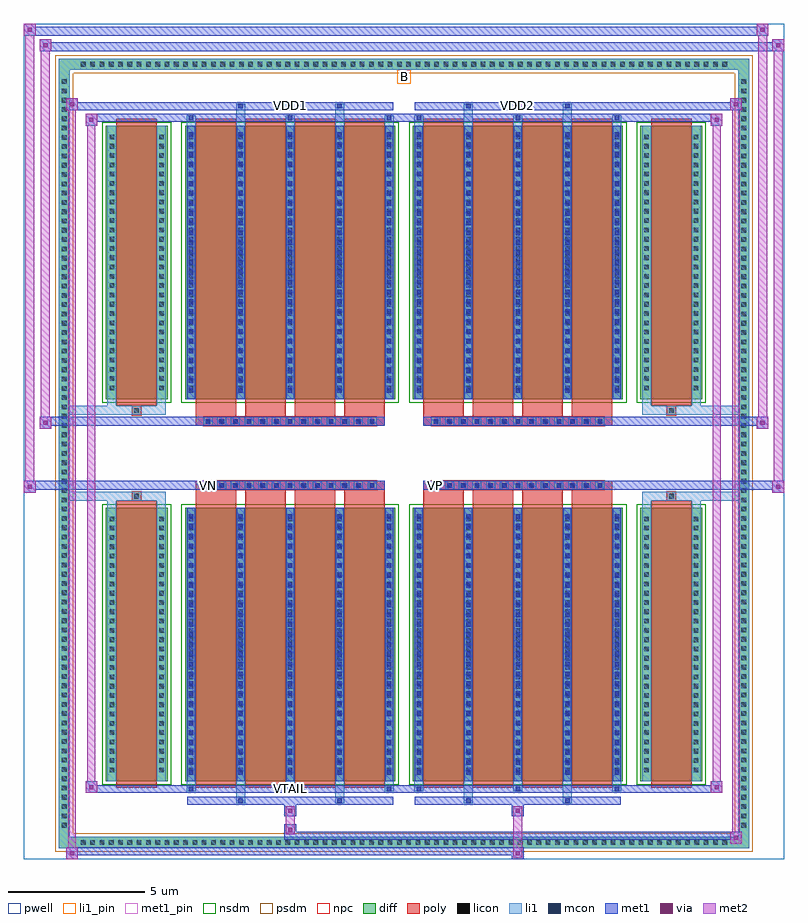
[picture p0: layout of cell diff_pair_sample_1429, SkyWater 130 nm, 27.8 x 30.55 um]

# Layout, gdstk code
import gdstk
lib = gdstk.Library(unit=1e-6, precision=5e-09)
def R(c, l, rs):  # rectangles x0, y0, x1, y1
    for r in rs: c.add(gdstk.rectangle(r[:2], r[2:], *l))
def A(c, l, x, y, w, h, nx, ny, dx, dy):  # array of equal rectangles
    R(c, l, [(x+i*dx, y+j*dy, x+i*dx+w, y+j*dy+h) for i in range(nx) for j in range(ny)])
def P(c, l, *ps):  # polygons
    for p in ps: c.add(gdstk.Polygon(p, *l))
pwell = (64, 44)
diff = (65, 20)
poly = (66, 20)
licon = (66, 44)
li1_pin = (67, 16)
li1 = (67, 20)
mcon = (67, 44)
met1_pin = (68, 16)
met1 = (68, 20)
via = (68, 44)
met2 = (69, 20)
nsdm = (93, 44)
psdm = (94, 20)
npc = (95, 20)

diff_pair_sample_1429 = lib.new_cell('diff_pair_sample_1429')
R(diff_pair_sample_1429, pwell, [(-13.9,-14.84,13.9,15.71), (-11.22,-13.03,-0.01,-0.805), (0.01,-13.03,11.22,-0.805), (-11.22,0.805,-0.01,13.03), (0.01,0.805,11.22,13.03)])
A(diff_pair_sample_1429, diff, -11.935, -14.44, 0.41, 0.41, 70, 2, 0.34, 28.47)
A(diff_pair_sample_1429, diff, -12.63, -13.805, 0.41, 0.41, 1, 81, 0, 0.34)
A(diff_pair_sample_1429, diff, 12.22, -13.805, 0.41, 0.41, 1, 81, 0, 0.34)
R(diff_pair_sample_1429, diff, [(-11.935,-14.44,11.935,-14.03), (-12.63,-13.805,-12.22,13.805), (12.22,-13.805,12.63,13.805), (-10.91,-11.985,-8.65,-1.985), (-8.01,-11.985,-0.32,-1.985), (0.32,-11.985,8.01,-1.985), (8.65,-11.985,10.91,-1.985), (-10.91,1.985,-8.65,11.985), (-8.01,1.985,-0.32,11.985), (0.32,1.985,8.01,11.985), (8.65,1.985,10.91,11.985), (-11.935,14.03,11.935,14.44)])
P(diff_pair_sample_1429, diff, [(12.63,14.44),(-12.63,14.44),(-12.63,-14.03),(-12.22,-14.03),(-12.22,14.03),(12.22,14.03),(12.22,-14.03),(-12.22,-14.03),(-12.63,-14.03),(-12.63,-14.44),(12.63,-14.44)])
A(diff_pair_sample_1429, poly, -7.62, -12.235, 1.48, 10.5, 4, 2, 1.81, 13.97)
A(diff_pair_sample_1429, poly, 0.71, -12.235, 1.48, 10.5, 4, 2, 1.81, 13.97)
A(diff_pair_sample_1429, poly, -7.62, -1.735, 1.48, 0.4, 4, 2, 1.81, 3.07)
A(diff_pair_sample_1429, poly, 0.71, -1.735, 1.48, 0.4, 4, 2, 1.81, 3.07)
A(diff_pair_sample_1429, poly, -7.33, -1.335, 0.33, 0.33, 13, 2, 0.5, 2.34)
A(diff_pair_sample_1429, poly, 1, -1.335, 0.33, 0.33, 13, 2, 0.5, 2.34)
R(diff_pair_sample_1429, poly, [(-10.52,-12.235,-9.04,-1.735), (9.04,-12.235,10.52,-1.735), (-9.945,-1.735,-9.615,-1.405), (-9.945,-1.735,-9.615,-1.405), (9.615,-1.735,9.945,-1.405), (9.615,-1.735,9.945,-1.405), (-7.62,-1.335,-0.71,-1.005), (0.71,-1.335,7.62,-1.005), (-7.62,1.005,-0.71,1.335), (0.71,1.005,7.62,1.335), (-9.945,1.405,-9.615,1.735), (-9.945,1.405,-9.615,1.735), (9.615,1.405,9.945,1.735), (9.615,1.405,9.945,1.735), (-10.52,1.735,-9.04,12.235), (9.04,1.735,10.52,12.235)])
A(diff_pair_sample_1429, licon, -11.815, -14.32, 0.17, 0.17, 70, 2, 0.34, 28.47)
A(diff_pair_sample_1429, licon, -12.51, -13.685, 0.17, 0.17, 1, 81, 0, 0.34)
A(diff_pair_sample_1429, licon, 12.34, -13.685, 0.17, 0.17, 1, 81, 0, 0.34)
A(diff_pair_sample_1429, licon, -10.77, -11.66, 0.17, 0.17, 1, 28, 0, 0.34)
A(diff_pair_sample_1429, licon, -8.96, -11.66, 0.17, 0.17, 1, 28, 0, 0.34)
A(diff_pair_sample_1429, licon, -7.87, -11.66, 0.17, 0.17, 5, 28, 1.81, 0.34)
A(diff_pair_sample_1429, licon, 0.46, -11.66, 0.17, 0.17, 5, 28, 1.81, 0.34)
A(diff_pair_sample_1429, licon, 8.79, -11.66, 0.17, 0.17, 1, 28, 0, 0.34)
A(diff_pair_sample_1429, licon, 10.6, -11.66, 0.17, 0.17, 1, 28, 0, 0.34)
A(diff_pair_sample_1429, licon, -7.25, -1.255, 0.17, 0.17, 13, 2, 0.5, 2.34)
A(diff_pair_sample_1429, licon, 1.08, -1.255, 0.17, 0.17, 13, 2, 0.5, 2.34)
A(diff_pair_sample_1429, licon, -10.77, 2.31, 0.17, 0.17, 1, 28, 0, 0.34)
A(diff_pair_sample_1429, licon, -8.96, 2.31, 0.17, 0.17, 1, 28, 0, 0.34)
A(diff_pair_sample_1429, licon, -7.87, 2.31, 0.17, 0.17, 5, 28, 1.81, 0.34)
A(diff_pair_sample_1429, licon, 0.46, 2.31, 0.17, 0.17, 5, 28, 1.81, 0.34)
A(diff_pair_sample_1429, licon, 8.79, 2.31, 0.17, 0.17, 1, 28, 0, 0.34)
A(diff_pair_sample_1429, licon, 10.6, 2.31, 0.17, 0.17, 1, 28, 0, 0.34)
R(diff_pair_sample_1429, licon, [(-9.865,-1.655,-9.695,-1.485), (9.695,-1.655,9.865,-1.485), (-9.865,1.485,-9.695,1.655), (9.695,1.485,9.865,1.655)])
R(diff_pair_sample_1429, li1_pin, [(-0.25,13.53,0.25,14.03)])
A(diff_pair_sample_1429, li1, -11.895, -14.4, 0.33, 0.33, 70, 2, 0.34, 28.47)
A(diff_pair_sample_1429, li1, -12.59, -13.765, 0.33, 0.33, 1, 81, 0, 0.34)
A(diff_pair_sample_1429, li1, 12.26, -13.765, 0.33, 0.33, 1, 81, 0, 0.34)
A(diff_pair_sample_1429, li1, -7.95, -12.36, 0.33, 0.375, 3, 2, 3.62, 24.345)
A(diff_pair_sample_1429, li1, -7.87, -12.36, 0.17, 0.17, 3, 2, 3.62, 24.55)
A(diff_pair_sample_1429, li1, 0.38, -12.36, 0.33, 0.375, 3, 2, 3.62, 24.345)
A(diff_pair_sample_1429, li1, 0.46, -12.36, 0.17, 0.17, 3, 2, 3.62, 24.55)
A(diff_pair_sample_1429, li1, -7.95, -11.985, 0.33, 10, 5, 2, 1.81, 13.97)
A(diff_pair_sample_1429, li1, 0.38, -11.985, 0.33, 10, 5, 2, 1.81, 13.97)
A(diff_pair_sample_1429, li1, -7.87, -11.75, 0.17, 0.17, 5, 27, 1.81, 0.36)
A(diff_pair_sample_1429, li1, -7.87, -11.75, 0.17, 9.53, 5, 2, 1.81, 13.97)
A(diff_pair_sample_1429, li1, 0.46, -11.75, 0.17, 0.17, 5, 27, 1.81, 0.36)
A(diff_pair_sample_1429, li1, 0.46, -11.75, 0.17, 9.53, 5, 2, 1.81, 13.97)
A(diff_pair_sample_1429, li1, -10.85, -11.74, 0.33, 0.33, 1, 28, 0, 0.34)
A(diff_pair_sample_1429, li1, -9.04, -11.74, 0.33, 0.33, 1, 28, 0, 0.34)
A(diff_pair_sample_1429, li1, -7.95, -11.74, 0.33, 0.33, 5, 28, 1.81, 0.34)
A(diff_pair_sample_1429, li1, 0.38, -11.74, 0.33, 0.33, 5, 28, 1.81, 0.34)
A(diff_pair_sample_1429, li1, 8.71, -11.74, 0.33, 0.33, 1, 28, 0, 0.34)
A(diff_pair_sample_1429, li1, 10.52, -11.74, 0.33, 0.33, 1, 28, 0, 0.34)
A(diff_pair_sample_1429, li1, -7.33, -1.335, 0.33, 0.33, 13, 2, 0.5, 2.34)
A(diff_pair_sample_1429, li1, 1, -1.335, 0.33, 0.33, 13, 2, 0.5, 2.34)
A(diff_pair_sample_1429, li1, -7.87, 2.22, 0.17, 0.17, 5, 27, 1.81, 0.36)
A(diff_pair_sample_1429, li1, 0.46, 2.22, 0.17, 0.17, 5, 27, 1.81, 0.36)
A(diff_pair_sample_1429, li1, -10.85, 2.23, 0.33, 0.33, 1, 28, 0, 0.34)
A(diff_pair_sample_1429, li1, -9.04, 2.23, 0.33, 0.33, 1, 28, 0, 0.34)
A(diff_pair_sample_1429, li1, -7.95, 2.23, 0.33, 0.33, 5, 28, 1.81, 0.34)
A(diff_pair_sample_1429, li1, 0.38, 2.23, 0.33, 0.33, 5, 28, 1.81, 0.34)
A(diff_pair_sample_1429, li1, 8.71, 2.23, 0.33, 0.33, 1, 28, 0, 0.34)
A(diff_pair_sample_1429, li1, 10.52, 2.23, 0.33, 0.33, 1, 28, 0, 0.34)
R(diff_pair_sample_1429, li1, [(-12.63,-14.44,-12.22,-14.03), (-12.63,-14.44,-12.22,-14.03), (-12.22,-14.44,12.22,-14.03), (12.22,-14.44,12.63,-14.03), (12.22,-14.44,12.63,-14.03), (-12.63,-14.03,-12.22,14.03), (12.22,-14.03,12.63,14.03), (-6.14,-12.79,-5.81,-11.985), (-6.06,-12.79,-5.89,-12.62), (-2.52,-12.79,-2.19,-11.985), (-2.44,-12.79,-2.27,-12.62), (2.19,-12.79,2.52,-11.985), (2.27,-12.79,2.44,-12.62), (5.81,-12.79,6.14,-11.985), (5.89,-12.79,6.06,-12.62), (-10.85,-11.985,-10.52,-1.985), (-9.04,-11.985,-8.71,-1.985), (8.71,-11.985,9.04,-1.985), (10.52,-11.985,10.85,-1.985), (-10.85,-1.985,-10.52,-1.405), (-9.04,-1.985,-8.71,-1.405), (8.71,-1.985,9.04,-1.405), (10.52,-1.985,10.85,-1.405), (-12.63,-1.735,-9.945,-1.405), (-10.85,-1.735,-9.945,-1.405), (-9.945,-1.735,-9.615,-1.405), (-9.615,-1.735,-8.71,-1.405), (8.71,-1.735,9.615,-1.405), (9.615,-1.735,9.945,-1.405), (9.615,-1.735,12.63,-1.405), (9.945,-1.735,10.85,-1.405), (-12.63,1.405,-9.945,1.735), (-10.85,1.405,-9.945,1.735), (-10.85,1.405,-10.52,1.985), (-9.945,1.405,-9.615,1.735), (-9.615,1.405,-8.71,1.735), (-9.04,1.405,-8.71,1.985), (8.71,1.405,9.615,1.735), (8.71,1.405,9.04,1.985), (9.615,1.405,9.945,1.735), (9.615,1.405,12.63,1.735), (9.945,1.405,10.85,1.735), (10.52,1.405,10.85,1.985), (-10.85,1.985,-10.52,11.985), (-9.04,1.985,-8.71,11.985), (8.71,1.985,9.04,11.985), (10.52,1.985,10.85,11.985), (-6.14,11.985,-5.81,12.79), (-2.52,11.985,-2.19,12.79), (2.19,11.985,2.52,12.79), (5.81,11.985,6.14,12.79), (-6.06,12.62,-5.89,12.79), (-2.44,12.62,-2.27,12.79), (2.27,12.62,2.44,12.79), (5.89,12.62,6.06,12.79), (-12.63,14.03,-12.22,14.44), (-12.63,14.03,-12.22,14.44), (-12.22,14.03,12.22,14.44), (12.22,14.03,12.63,14.44), (12.22,14.03,12.63,14.44)])
A(diff_pair_sample_1429, mcon, -7.87, -12.36, 0.17, 0.17, 3, 2, 3.62, 24.55)
A(diff_pair_sample_1429, mcon, 0.46, -12.36, 0.17, 0.17, 3, 2, 3.62, 24.55)
A(diff_pair_sample_1429, mcon, -7.87, -11.75, 0.17, 0.17, 5, 27, 1.81, 0.36)
A(diff_pair_sample_1429, mcon, 0.46, -11.75, 0.17, 0.17, 5, 27, 1.81, 0.36)
A(diff_pair_sample_1429, mcon, -7.25, -1.255, 0.17, 0.17, 13, 2, 0.5, 2.34)
A(diff_pair_sample_1429, mcon, 1.08, -1.255, 0.17, 0.17, 13, 2, 0.5, 2.34)
A(diff_pair_sample_1429, mcon, -7.87, 2.22, 0.17, 0.17, 5, 27, 1.81, 0.36)
A(diff_pair_sample_1429, mcon, 0.46, 2.22, 0.17, 0.17, 5, 27, 1.81, 0.36)
R(diff_pair_sample_1429, mcon, [(-6.06,-12.79,-5.89,-12.62), (-2.44,-12.79,-2.27,-12.62), (2.27,-12.79,2.44,-12.62), (5.89,-12.79,6.06,-12.62), (-6.06,12.62,-5.89,12.79), (-2.44,12.62,-2.27,12.79), (2.27,12.62,2.44,12.79), (5.89,12.62,6.06,12.79)])
R(diff_pair_sample_1429, met1_pin, [(-4.3,-12.4,-4.03,-12.13), (-7.3,-1.295,-7.03,-1.025), (1.03,-1.295,1.3,-1.025), (-4.3,12.58,-4.03,12.85), (4.03,12.58,4.3,12.85)])
A(diff_pair_sample_1429, met1, -7.93, -12.42, 0.29, 0.29, 3, 2, 3.62, 24.55)
A(diff_pair_sample_1429, met1, 0.4, -12.42, 0.29, 0.29, 3, 2, 3.62, 24.55)
A(diff_pair_sample_1429, met1, -7.93, -11.985, 0.29, 10, 5, 2, 1.81, 13.97)
A(diff_pair_sample_1429, met1, 0.4, -11.985, 0.29, 10, 5, 2, 1.81, 13.97)
A(diff_pair_sample_1429, met1, -7.93, -11.81, 0.29, 0.29, 5, 27, 1.81, 0.36)
A(diff_pair_sample_1429, met1, 0.4, -11.81, 0.29, 0.29, 5, 27, 1.81, 0.36)
A(diff_pair_sample_1429, met1, -7.31, -1.315, 0.29, 0.29, 13, 2, 0.5, 2.34)
A(diff_pair_sample_1429, met1, 1.02, -1.315, 0.29, 0.29, 13, 2, 0.5, 2.34)
A(diff_pair_sample_1429, met1, -7.93, 2.16, 0.29, 0.29, 5, 27, 1.81, 0.36)
A(diff_pair_sample_1429, met1, 0.4, 2.16, 0.29, 0.29, 5, 27, 1.81, 0.36)
R(diff_pair_sample_1429, met1, [(-12.36,-14.84,-11.93,-14.41), (3.95,-14.84,4.38,-14.41), (-12.36,-14.7,4.38,-14.41), (11.93,-14.27,12.36,-13.84), (-4.38,-14.13,12.36,-13.84), (-4.38,-13.99,-3.95,-13.56), (-4.38,-13.28,-3.95,-12.85), (3.95,-13.28,4.38,-12.85), (-7.93,-12.85,-0.4,-12.56), (-6.12,-12.85,-5.83,-12.56), (-2.5,-12.85,-2.21,-12.56), (0.4,-12.85,7.93,-12.56), (2.21,-12.85,2.5,-12.56), (5.83,-12.85,6.12,-12.56), (-11.65,-12.42,-11.22,-11.99), (-11.65,-12.42,-7.93,-12.13), (-7.93,-12.42,-0.4,-12.13), (-0.4,-12.42,0.4,-12.13), (0.4,-12.42,7.93,-12.13), (7.93,-12.42,11.65,-12.13), (11.22,-12.42,11.65,-11.99), (-13.9,-1.435,-13.47,-1.005), (13.47,-1.435,13.9,-1.005), (-13.9,-1.335,-0.71,-1.005), (-7.62,-1.335,-0.71,-1.005), (0.71,-1.335,7.62,-1.005), (0.71,-1.335,13.9,-1.005), (-13.33,0.905,-12.9,1.335), (12.9,0.905,13.33,1.335), (-13.33,1.005,-7.62,1.335), (-7.62,1.005,-0.71,1.335), (0.71,1.005,7.62,1.335), (7.62,1.005,13.33,1.335), (-11.65,11.99,-11.22,12.42), (11.22,11.99,11.65,12.42), (-11.65,12.13,-7.93,12.42), (-7.93,12.13,-0.4,12.42), (-0.4,12.13,0.4,12.42), (0.4,12.13,7.93,12.42), (7.93,12.13,11.65,12.42), (-12.36,12.56,-11.93,12.99), (-12.36,12.56,-7.93,12.85), (-7.93,12.56,-0.4,12.85), (-6.12,12.56,-5.83,12.85), (-2.5,12.56,-2.21,12.85), (0.4,12.56,7.93,12.85), (2.21,12.56,2.5,12.85), (5.83,12.56,6.12,12.85), (7.93,12.56,12.36,12.85), (11.93,12.56,12.36,12.99), (-13.33,14.71,-12.9,15.14), (-13.33,14.71,-11.22,15.04), (-11.22,14.71,11.22,15.04), (11.22,14.71,13.9,15.04), (13.47,14.71,13.9,15.14), (-13.9,15.28,-13.47,15.71), (-13.9,15.28,-11.22,15.61), (-11.22,15.28,11.22,15.61), (11.22,15.28,13.33,15.61), (12.9,15.28,13.33,15.71)])
R(diff_pair_sample_1429, via, [(-12.22,-14.7,-12.07,-14.55), (4.09,-14.7,4.24,-14.55), (12.07,-14.13,12.22,-13.98), (-4.24,-13.85,-4.09,-13.7), (-4.24,-13.14,-4.09,-12.99), (4.09,-13.14,4.24,-12.99), (-11.51,-12.28,-11.36,-12.13), (11.36,-12.28,11.51,-12.13), (-13.76,-1.295,-13.61,-1.145), (13.61,-1.295,13.76,-1.145), (-13.19,1.045,-13.04,1.195), (13.04,1.045,13.19,1.195), (-11.51,12.13,-11.36,12.28), (11.36,12.13,11.51,12.28), (-12.22,12.7,-12.07,12.85), (12.07,12.7,12.22,12.85), (-13.19,14.85,-13.04,15), (13.61,14.85,13.76,15), (-13.76,15.42,-13.61,15.57), (13.04,15.42,13.19,15.57)])
R(diff_pair_sample_1429, met2, [(-12.36,-14.84,-11.93,-14.41), (-12.29,-14.84,-12,12.99), (-12,-14.84,-11.93,-14.41), (-12.31,-14.79,-11.98,-14.46), (4,-14.79,4.33,-14.46), (4,-14.46,4.33,-13.23), (11.93,-14.27,12.36,-13.84), (12,-14.27,12.29,12.99), (12.29,-14.27,12.36,-13.84), (11.98,-14.22,12.31,-13.89), (-4.33,-13.94,-4,-13.61), (-4.33,-13.61,-4,-13.23), (-4.33,-13.23,-4,-12.9), (4,-13.23,4.33,-12.9), (-11.65,-12.42,-11.22,-11.99), (-11.58,-12.42,-11.29,12.42), (-11.29,-12.42,-11.22,-11.99), (11.22,-12.42,11.65,-11.99), (11.29,-12.42,11.58,12.42), (11.58,-12.42,11.65,-11.99), (-11.6,-12.37,-11.27,-12.04), (11.27,-12.37,11.6,-12.04), (-13.9,-1.435,-13.47,-1.005), (-13.85,-1.435,-13.52,15.71), (-13.52,-1.435,-13.47,-1.005), (13.47,-1.435,13.9,-1.005), (13.52,-1.435,13.85,15.14), (13.85,-1.435,13.9,-1.005), (-13.85,-1.385,-13.52,-1.055), (13.52,-1.385,13.85,-1.055), (-13.33,0.905,-12.9,1.335), (-13.28,0.905,-12.95,15.14), (-12.95,0.905,-12.9,1.335), (12.9,0.905,13.33,1.335), (12.95,0.905,13.28,15.71), (13.28,0.905,13.33,1.335), (-13.28,0.955,-12.95,1.285), (12.95,0.955,13.28,1.285), (-11.65,11.99,-11.22,12.42), (-11.29,11.99,-11.22,12.42), (11.22,11.99,11.65,12.42), (11.58,11.99,11.65,12.42), (-11.6,12.04,-11.27,12.37), (11.27,12.04,11.6,12.37), (-12.36,12.56,-11.93,12.99), (-12,12.56,-11.93,12.99), (11.93,12.56,12.36,12.99), (12.29,12.56,12.36,12.99), (-12.31,12.61,-11.98,12.94), (11.98,12.61,12.31,12.94), (-13.33,14.71,-12.9,15.14), (-12.95,14.71,-12.9,15.14), (13.47,14.71,13.9,15.14), (13.85,14.71,13.9,15.14), (-13.28,14.76,-12.95,15.09), (13.52,14.76,13.85,15.09), (-13.9,15.28,-13.47,15.71), (-13.52,15.28,-13.47,15.71), (12.9,15.28,13.33,15.71), (13.28,15.28,13.33,15.71), (-13.85,15.33,-13.52,15.66), (12.95,15.33,13.28,15.66)])
R(diff_pair_sample_1429, nsdm, [(-11.04,-12.115,-8.52,-1.855), (-8.14,-12.115,-0.19,-1.855), (0.19,-12.115,8.14,-1.855), (8.52,-12.115,11.04,-1.855), (-11.04,1.855,-8.52,12.115), (-8.14,1.855,-0.19,12.115), (0.19,1.855,8.14,12.115), (8.52,1.855,11.04,12.115)])
P(diff_pair_sample_1429, psdm, [(12.76,14.57),(-12.76,14.57),(-12.76,-13.9),(-12.09,-13.9),(-12.09,13.9),(12.09,13.9),(12.09,-13.9),(-12.09,-13.9),(-12.76,-13.9),(-12.76,-14.57),(12.76,-14.57)])
A(diff_pair_sample_1429, npc, -7.35, -1.355, 0.37, 0.37, 13, 2, 0.5, 2.34)
A(diff_pair_sample_1429, npc, 0.98, -1.355, 0.37, 0.37, 13, 2, 0.5, 2.34)
R(diff_pair_sample_1429, npc, [(-9.965,-1.755,-9.595,-1.385), (9.595,-1.755,9.965,-1.385), (-7.35,-1.355,-6.48,-0.985), (-7.35,-1.355,-6.48,-0.985), (-6.85,-1.355,-5.98,-0.985), (-6.85,-1.355,-5.98,-0.985), (-6.35,-1.355,-5.48,-0.985), (-6.35,-1.355,-5.48,-0.985), (-5.85,-1.355,-4.98,-0.985), (-5.85,-1.355,-4.98,-0.985), (-5.35,-1.355,-4.48,-0.985), (-5.35,-1.355,-4.48,-0.985), (-4.85,-1.355,-3.98,-0.985), (-4.85,-1.355,-3.98,-0.985), (-4.35,-1.355,-3.48,-0.985), (-4.35,-1.355,-3.48,-0.985), (-3.85,-1.355,-2.98,-0.985), (-3.85,-1.355,-2.98,-0.985), (-3.35,-1.355,-2.48,-0.985), (-3.35,-1.355,-2.48,-0.985), (-2.85,-1.355,-1.98,-0.985), (-2.85,-1.355,-1.98,-0.985), (-2.35,-1.355,-1.48,-0.985), (-2.35,-1.355,-1.48,-0.985), (-1.85,-1.355,-0.98,-0.985), (-1.85,-1.355,-0.98,-0.985), (0.98,-1.355,1.85,-0.985), (0.98,-1.355,1.85,-0.985), (1.48,-1.355,2.35,-0.985), (1.48,-1.355,2.35,-0.985), (1.98,-1.355,2.85,-0.985), (1.98,-1.355,2.85,-0.985), (2.48,-1.355,3.35,-0.985), (2.48,-1.355,3.35,-0.985), (2.98,-1.355,3.85,-0.985), (2.98,-1.355,3.85,-0.985), (3.48,-1.355,4.35,-0.985), (3.48,-1.355,4.35,-0.985), (3.98,-1.355,4.85,-0.985), (3.98,-1.355,4.85,-0.985), (4.48,-1.355,5.35,-0.985), (4.48,-1.355,5.35,-0.985), (4.98,-1.355,5.85,-0.985), (4.98,-1.355,5.85,-0.985), (5.48,-1.355,6.35,-0.985), (5.48,-1.355,6.35,-0.985), (5.98,-1.355,6.85,-0.985), (5.98,-1.355,6.85,-0.985), (6.48,-1.355,7.35,-0.985), (6.48,-1.355,7.35,-0.985), (-7.35,0.985,-6.48,1.355), (-7.35,0.985,-6.48,1.355), (-6.85,0.985,-5.98,1.355), (-6.85,0.985,-5.98,1.355), (-6.35,0.985,-5.48,1.355), (-6.35,0.985,-5.48,1.355), (-5.85,0.985,-4.98,1.355), (-5.85,0.985,-4.98,1.355), (-5.35,0.985,-4.48,1.355), (-5.35,0.985,-4.48,1.355), (-4.85,0.985,-3.98,1.355), (-4.85,0.985,-3.98,1.355), (-4.35,0.985,-3.48,1.355), (-4.35,0.985,-3.48,1.355), (-3.85,0.985,-2.98,1.355), (-3.85,0.985,-2.98,1.355), (-3.35,0.985,-2.48,1.355), (-3.35,0.985,-2.48,1.355), (-2.85,0.985,-1.98,1.355), (-2.85,0.985,-1.98,1.355), (-2.35,0.985,-1.48,1.355), (-2.35,0.985,-1.48,1.355), (-1.85,0.985,-0.98,1.355), (-1.85,0.985,-0.98,1.355), (0.98,0.985,1.85,1.355), (0.98,0.985,1.85,1.355), (1.48,0.985,2.35,1.355), (1.48,0.985,2.35,1.355), (1.98,0.985,2.85,1.355), (1.98,0.985,2.85,1.355), (2.48,0.985,3.35,1.355), (2.48,0.985,3.35,1.355), (2.98,0.985,3.85,1.355), (2.98,0.985,3.85,1.355), (3.48,0.985,4.35,1.355), (3.48,0.985,4.35,1.355), (3.98,0.985,4.85,1.355), (3.98,0.985,4.85,1.355), (4.48,0.985,5.35,1.355), (4.48,0.985,5.35,1.355), (4.98,0.985,5.85,1.355), (4.98,0.985,5.85,1.355), (5.48,0.985,6.35,1.355), (5.48,0.985,6.35,1.355), (5.98,0.985,6.85,1.355), (5.98,0.985,6.85,1.355), (6.48,0.985,7.35,1.355), (6.48,0.985,7.35,1.355), (-9.965,1.385,-9.595,1.755), (9.595,1.385,9.965,1.755)])
diff_pair_sample_1429.add(gdstk.Label('VTAIL', (-4.165,-12.265), layer=68, texttype=5))
diff_pair_sample_1429.add(gdstk.Label('VN', (-7.165,-1.16), layer=68, texttype=5))
diff_pair_sample_1429.add(gdstk.Label('VP', (1.165,-1.16), layer=68, texttype=5))
diff_pair_sample_1429.add(gdstk.Label('B', (0,13.78), layer=67, texttype=5))
diff_pair_sample_1429.add(gdstk.Label('VDD2', (4.165,12.715), layer=68, texttype=5))
diff_pair_sample_1429.add(gdstk.Label('VDD1', (-4.165,12.715), layer=68, texttype=5))

lib.write_gds('diff_pair_sample_1429.gds')
